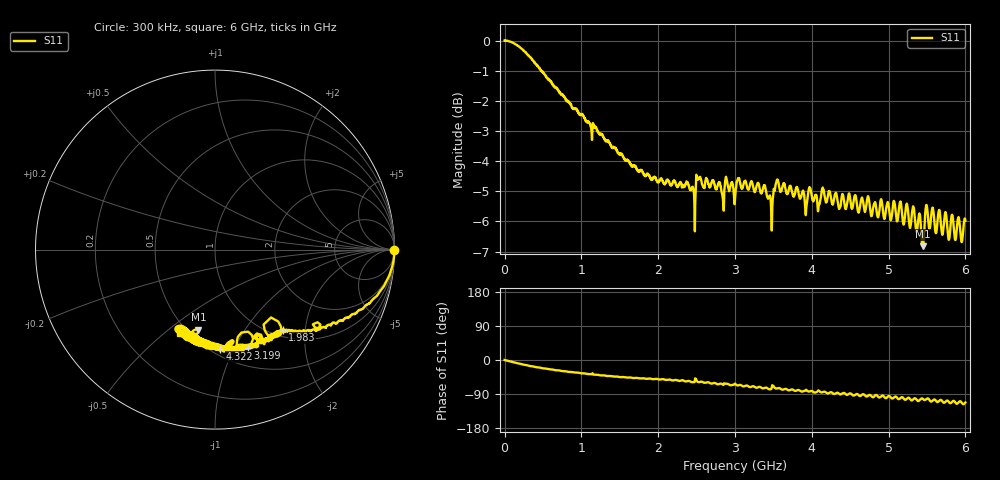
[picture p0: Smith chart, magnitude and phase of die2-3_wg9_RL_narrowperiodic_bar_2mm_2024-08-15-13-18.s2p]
!Keysight Technologies,P9374A,MY57304198,A.17.20.09
!Date: Thursday, August 15, 2024 13:18:53
!Correction: S11(C  1-Port  )
!S21(C  1-Port  )
!S12(Off)
!S22(Off)
!S2P File: Measurements: S11, S21, S12, S22:
# Hz S  dB  R 50
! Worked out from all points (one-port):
!   6000 points, 300 kHz to 6 GHz, reference 50 ohm
!   lowest |S11| = -6.8 dB at 5.442 GHz (marker M1), VSWR 2.68, Z = 28.4 - j32 ohm
!   |S11| at or under -10 dB: nowhere
!   S11 on the Smith chart (normalised r, x): 300 kHz: open; 1.983 GHz: 1.12, -1.52; 3.199 GHz: 0.69, -1.14; 4.322 GHz: 0.55, -0.89; 6 GHz: 0.46, -0.57
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300000  0.00 -0.0  -200.00 45.0  -200.00 45.0  -200.00 45.0
1.80321e8  -0.19 -9.1  -200.00 45.0  -200.00 45.0  -200.00 45.0
4.143483e8  -0.79 -19.0  -200.00 45.0  -200.00 45.0  -200.00 45.0
1.000417e9  -2.44 -35.1  -200.00 45.0  -200.00 45.0  -200.00 45.0
1.581484e9  -3.97 -46.2  -200.00 45.0  -200.00 45.0  -200.00 45.0
1.982531e9  -4.66 -49.8  -200.00 45.0  -200.00 45.0  -200.00 45.0
2.000533e9  -4.69 -50.8  -200.00 45.0  -200.00 45.0  -200.00 45.0
2.447586e9  -4.85 -58.7  -200.00 45.0  -200.00 45.0  -200.00 45.0
2.509593e9  -4.61 -56.9  -200.00 45.0  -200.00 45.0  -200.00 45.0
3.00065e9  -5.19 -62.7  -200.00 45.0  -200.00 45.0  -200.00 45.0
3.198673e9  -4.74 -71.5  -200.00 45.0  -200.00 45.0  -200.00 45.0
3.447702e9  -5.16 -77.4  -200.00 45.0  -200.00 45.0  -200.00 45.0
3.508709e9  -4.93 -71.6  -200.00 45.0  -200.00 45.0  -200.00 45.0
3.550714e9  -4.61 -75.0  -200.00 45.0  -200.00 45.0  -200.00 45.0
4.000767e9  -5.16 -81.7  -200.00 45.0  -200.00 45.0  -200.00 45.0
4.321804e9  -5.12 -86.9  -200.00 45.0  -200.00 45.0  -200.00 45.0
5.000883e9  -5.47 -95.1  -200.00 45.0  -200.00 45.0  -200.00 45.0
5.386928e9  -5.94 -108.4  -200.00 45.0  -200.00 45.0  -200.00 45.0
5.441935e9  -6.82 -101.8  -200.00 45.0  -200.00 45.0  -200.00 45.0
5.497941e9  -5.49 -102.0  -200.00 45.0  -200.00 45.0  -200.00 45.0
5.556948e9  -5.76 -109.7  -200.00 45.0  -200.00 45.0  -200.00 45.0
6e9  -5.97 -112.2  -200.00 45.0  -200.00 45.0  -200.00 45.0
